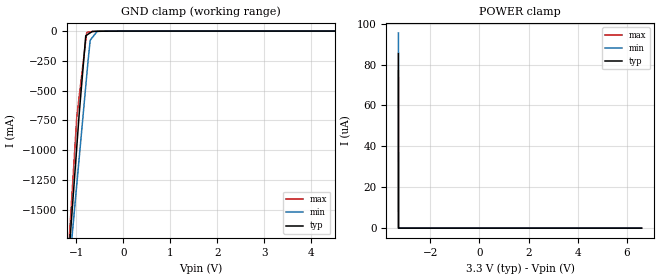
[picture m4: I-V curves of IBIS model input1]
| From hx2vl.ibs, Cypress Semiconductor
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[Model]   input1
Model_type   Input
Vinl = 0.8
Vinh = 2.0
|   typ   min   max
C_comp   0.9pF   0.7pF   1.0pF
[Voltage Range]   3.3   3   3.6
[Temperature Range]   25   100   -20
[Power Clamp Reference]   3.3   3   3.6
[GND Clamp Reference]   0   0   0
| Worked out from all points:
|   GND clamp passes 1 mA (typ) near -0.38 V on its own axis
[GND Clamp]
|   Voltage   I(typ)   I(min)   I(max)
-3.303V   -13.44A    -11.29A    -15.36A
-1.171V   -1.936A    -2.06A     -1.855A
-1.14V    -1.766A    -1.924A    -1.655A
-992.4mV  -968.9mA   -1.285A    -718.3mA
-940.5mV  -689.8mA   -1.061A    -545.1mA
-801.9mV  -39.04mA   -462.4mA   -82.52mA
-780mV    -33.17mA   -367.9mA   -10.09mA
-753mV    -26.27mA   -251.6mA   -8.431mA
-708mV    -14.76mA   -80.23mA   -5.924mA
-660mV    -2.81mA    -52.92mA   -3.98mA
-558mV    -1.625mA   -2.176mA   -2.059mA
6.607V    0A         0A         0A
[POWER Clamp]
|   Voltage   I(typ)   I(min)   I(max)
-3.303V   85.41uA    95.46uA    76.88uA
-3.303V   77.65uA    86.79uA    69.9uA
-3.3V     0A         0A         0A
6.607V    0A         0A         0A
